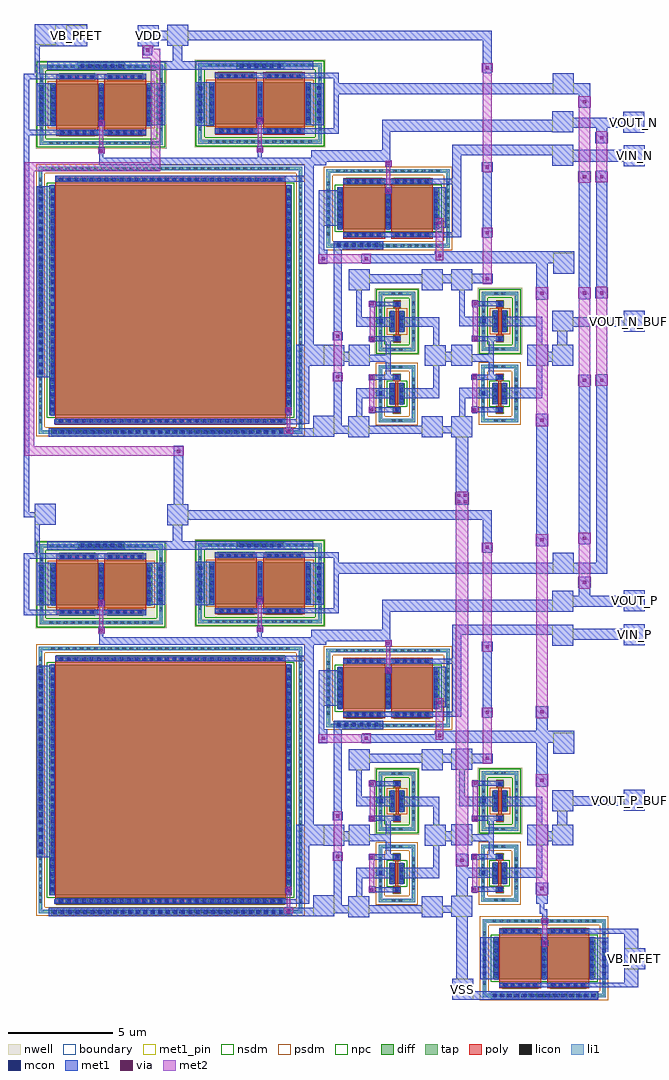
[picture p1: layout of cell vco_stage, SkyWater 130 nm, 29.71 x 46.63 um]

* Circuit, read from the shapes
.subckt vco_stage VB_NFET VB_PFET VDD VIN_N VIN_P VOUT_N VOUT_N_BUF VOUT_P VOUT_P_BUF VSS
XM1 VSS VOUT_P VSS VSS sky130_fd_pr__nfet_01v8 w=11 l=11
XM2 VSS VOUT_N VSS VSS sky130_fd_pr__nfet_01v8 w=11 l=11
XM3 VOUT_P VIN_P vco_stage_half_0/VDRAIN_TAIL VSS sky130_fd_pr__nfet_01v8 w=2 l=2 m=2
XM4 VOUT_N VIN_N vco_stage_half_0/VDRAIN_TAIL VSS sky130_fd_pr__nfet_01v8 w=2 l=2 m=2
XM5 vco_stage_half_1/vco_buffer_0/vco_inverter_1/VIN_INV VOUT_P VSS VSS sky130_fd_pr__nfet_01v8 w=1 l=0.15
XM6 vco_stage_half_0/vco_buffer_0/vco_inverter_1/VIN_INV VOUT_N VSS VSS sky130_fd_pr__nfet_01v8 w=1 l=0.15
XM7 VOUT_P_BUF vco_stage_half_1/vco_buffer_0/vco_inverter_1/VIN_INV VSS VSS sky130_fd_pr__nfet_01v8 w=1 l=0.15
XM8 VOUT_N_BUF vco_stage_half_0/vco_buffer_0/vco_inverter_1/VIN_INV VSS VSS sky130_fd_pr__nfet_01v8 w=1 l=0.15
XM9 vco_stage_half_0/VDRAIN_TAIL VB_NFET VSS VSS sky130_fd_pr__nfet_01v8 w=2 l=2 m=2
XM10 VOUT_P VB_PFET VDD VDD sky130_fd_pr__pfet_01v8 w=2 l=2 m=2
XM11 VOUT_N VB_PFET VDD VDD sky130_fd_pr__pfet_01v8 w=2 l=2 m=2
XM12 VOUT_P VOUT_N VDD VDD sky130_fd_pr__pfet_01v8 w=2 l=2 m=2
XM13 VOUT_N VOUT_P VDD VDD sky130_fd_pr__pfet_01v8 w=2 l=2 m=2
XM14 vco_stage_half_1/vco_buffer_0/vco_inverter_1/VIN_INV VOUT_P VDD VDD sky130_fd_pr__pfet_01v8 w=1 l=0.15
XM15 vco_stage_half_0/vco_buffer_0/vco_inverter_1/VIN_INV VOUT_N VDD VDD sky130_fd_pr__pfet_01v8 w=1 l=0.15
XM16 VOUT_P_BUF vco_stage_half_1/vco_buffer_0/vco_inverter_1/VIN_INV VDD VDD sky130_fd_pr__pfet_01v8 w=1 l=0.15
XM17 VOUT_N_BUF vco_stage_half_0/vco_buffer_0/vco_inverter_1/VIN_INV VDD VDD sky130_fd_pr__pfet_01v8 w=1 l=0.15
.ends

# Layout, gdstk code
import gdstk
lib = gdstk.Library(unit=1e-6, precision=1e-09)
def R(c, l, rs):  # rectangles x0, y0, x1, y1
    for r in rs: c.add(gdstk.rectangle(r[:2], r[2:], *l))
def A(c, l, x, y, w, h, nx, ny, dx, dy):  # array of equal rectangles
    R(c, l, [(x+i*dx, y+j*dy, x+i*dx+w, y+j*dy+h) for i in range(nx) for j in range(ny)])
nwell = (64, 20)
diff = (65, 20)
tap = (65, 44)
poly = (66, 20)
licon = (66, 44)
li1 = (67, 20)
mcon = (67, 44)
met1_pin = (68, 16)
met1 = (68, 20)
via = (68, 44)
met2 = (69, 20)
nsdm = (93, 44)
psdm = (94, 20)
npc = (95, 20)
boundary = (235, 4)

sky130_fd_pr__nfet_01v8_ = lib.new_cell('sky130_fd_pr__nfet_01v8_648S5X')
R(sky130_fd_pr__nfet_01v8_, diff, [(-0.365,-0.5,0.365,0.5)])
R(sky130_fd_pr__nfet_01v8_, tap, [(-0.875,-1.37,0.875,-1.2), (-0.875,-1.2,-0.705,1.2), (0.705,-1.2,0.875,1.2), (-0.875,1.2,0.875,1.37)])
R(sky130_fd_pr__nfet_01v8_, poly, [(-0.165,-0.94,0.165,-0.61), (-0.075,-0.61,0.075,0.61), (-0.165,0.61,0.165,0.94)])
A(sky130_fd_pr__nfet_01v8_, licon, -0.875, -0.765, 0.17, 0.17, 1, 5, 0, 0.34)
A(sky130_fd_pr__nfet_01v8_, licon, 0.705, -0.765, 0.17, 0.17, 1, 5, 0, 0.34)
A(sky130_fd_pr__nfet_01v8_, licon, -0.305, -0.425, 0.17, 0.17, 1, 3, 0, 0.34)
A(sky130_fd_pr__nfet_01v8_, licon, 0.135, -0.425, 0.17, 0.17, 1, 3, 0, 0.34)
R(sky130_fd_pr__nfet_01v8_, licon, [(-0.255,-1.37,-0.085,-1.2), (0.085,-1.37,0.255,-1.2), (-0.085,-0.86,0.085,-0.69), (-0.085,0.69,0.085,0.86), (-0.255,1.2,-0.085,1.37), (0.085,1.2,0.255,1.37)])
R(sky130_fd_pr__nfet_01v8_, li1, [(-0.875,-1.37,0.875,-1.2), (-0.875,-1.2,-0.705,1.2), (0.705,-1.2,0.875,1.2), (-0.165,-0.86,0.165,-0.69), (-0.305,-0.52,-0.135,0.52), (0.135,-0.52,0.305,0.52), (-0.165,0.69,0.165,0.86), (-0.875,1.2,0.875,1.37)])
R(sky130_fd_pr__nfet_01v8_, mcon, [(-0.085,-0.86,0.085,-0.69), (-0.305,-0.265,-0.135,-0.095), (0.135,-0.265,0.305,-0.095), (-0.305,0.095,-0.135,0.265), (0.135,0.095,0.305,0.265), (-0.085,0.69,0.085,0.86)])
R(sky130_fd_pr__nfet_01v8_, met1, [(-0.145,-0.89,0.145,-0.66), (-0.335,-0.5,-0.105,0.5), (0.105,-0.5,0.335,0.5), (-0.145,0.66,0.145,0.89)])
R(sky130_fd_pr__nfet_01v8_, nsdm, [(-0.49,-0.625,0.49,0.625)])
R(sky130_fd_pr__nfet_01v8_, psdm, [(-1,-1.495,1,-1.075), (-1,-1.075,-0.58,1.075), (0.58,-1.075,1,1.075), (-1,1.075,1,1.495)])
R(sky130_fd_pr__nfet_01v8_, npc, [(-0.185,-0.96,0.185,-0.59), (-0.185,0.59,0.185,0.96)])
R(sky130_fd_pr__nfet_01v8_, boundary, [(-0.79,-1.285,0.79,1.285)])

sky130_fd_pr__pfet_01v8_ = lib.new_cell('sky130_fd_pr__pfet_01v8_XGS3BL')
R(sky130_fd_pr__pfet_01v8_, nwell, [(-1.055,-1.595,1.055,1.595)])
R(sky130_fd_pr__pfet_01v8_, diff, [(-0.365,-0.5,0.365,0.5)])
R(sky130_fd_pr__pfet_01v8_, tap, [(-0.875,-1.415,0.875,-1.245), (-0.875,-1.245,-0.705,1.245), (0.705,-1.245,0.875,1.245), (-0.875,1.245,0.875,1.415)])
R(sky130_fd_pr__pfet_01v8_, poly, [(-0.165,-0.985,0.165,-0.655), (-0.075,-0.655,0.075,0.655), (-0.165,0.655,0.165,0.985)])
A(sky130_fd_pr__pfet_01v8_, licon, -0.875, -0.935, 0.17, 0.17, 1, 6, 0, 0.34)
A(sky130_fd_pr__pfet_01v8_, licon, 0.705, -0.935, 0.17, 0.17, 1, 6, 0, 0.34)
A(sky130_fd_pr__pfet_01v8_, licon, -0.305, -0.425, 0.17, 0.17, 1, 3, 0, 0.34)
A(sky130_fd_pr__pfet_01v8_, licon, 0.135, -0.425, 0.17, 0.17, 1, 3, 0, 0.34)
R(sky130_fd_pr__pfet_01v8_, licon, [(-0.255,-1.415,-0.085,-1.245), (0.085,-1.415,0.255,-1.245), (-0.085,-0.905,0.085,-0.735), (-0.085,0.735,0.085,0.905), (-0.255,1.245,-0.085,1.415), (0.085,1.245,0.255,1.415)])
R(sky130_fd_pr__pfet_01v8_, li1, [(-0.875,-1.415,0.875,-1.245), (-0.875,-1.245,-0.705,1.245), (0.705,-1.245,0.875,1.245), (-0.165,-0.905,0.165,-0.735), (-0.305,-0.52,-0.135,0.52), (0.135,-0.52,0.305,0.52), (-0.165,0.735,0.165,0.905), (-0.875,1.245,0.875,1.415)])
R(sky130_fd_pr__pfet_01v8_, mcon, [(-0.085,-0.905,0.085,-0.735), (-0.305,-0.265,-0.135,-0.095), (0.135,-0.265,0.305,-0.095), (-0.305,0.095,-0.135,0.265), (0.135,0.095,0.305,0.265), (-0.085,0.735,0.085,0.905)])
R(sky130_fd_pr__pfet_01v8_, met1, [(-0.145,-0.935,0.145,-0.705), (-0.335,-0.5,-0.105,0.5), (0.105,-0.5,0.335,0.5), (-0.145,0.705,0.145,0.935)])
R(sky130_fd_pr__pfet_01v8_, nsdm, [(-1,-1.54,1,-1.12), (-1,-1.12,-0.58,1.12), (0.58,-1.12,1,1.12), (-1,1.12,1,1.54)])
R(sky130_fd_pr__pfet_01v8_, psdm, [(-0.49,-0.625,0.49,0.625)])
R(sky130_fd_pr__pfet_01v8_, npc, [(-0.185,-1.005,0.185,-0.635), (-0.185,0.635,0.185,1.005)])
R(sky130_fd_pr__pfet_01v8_, boundary, [(-0.79,-1.33,0.79,1.33)])

vco_inverter = lib.new_cell('vco_inverter')
R(vco_inverter, li1, [(1.34,-3.45,1.7,-3.16), (1.37,0.01,1.74,0.25)])
R(vco_inverter, mcon, [(1.435,-3.39,1.605,-3.22), (1.47,0.045,1.64,0.215)])
R(vco_inverter, met1_pin, [(-0.01,-5.42,0.99,-4.42), (3.63,-2.01,4.63,-1.01), (0,-2,1,-1), (0,1.6,1,2.6)])
R(vco_inverter, met1, [(-0.01,-5.42,0.99,-4.42), (0.36,-4.42,0.65,-3.56), (0.98,-4.27,1.24,-4.23), (0.98,-4.23,2.46,-3.99), (0.98,-3.99,1.24,-3.95), (0.36,-3.56,2.16,-3.07), (2.46,-3.56,4.34,-3.07), (4.05,-3.07,4.34,-2.01), (0.95,-2.69,1.27,-2.68), (0.95,-2.68,2.46,-2.43), (1.77,-2.43,2.01,-1.81), (3.63,-2.01,4.63,-1.01), (0,-2,1,-1.81), (0,-1.81,2.02,-1.47), (0,-1.47,1,-1), (1.77,-1.47,2.01,-0.83), (4.05,-1.01,4.33,-0.13), (0.97,-0.84,1.29,-0.83), (0.97,-0.83,2.47,-0.59), (0.97,-0.59,1.29,-0.58), (0.37,-0.13,2.18,-0.05), (2.46,-0.13,4.33,0.32), (0.36,-0.05,2.18,0.32), (0.36,0.32,0.63,1.6), (1,0.795,1.26,0.84), (1,0.84,2.47,1.07), (1,1.07,1.26,1.115), (0,1.6,1,2.6)])
R(vco_inverter, via, [(1.035,-4.185,1.185,-4.035), (1.035,-2.635,1.185,-2.485), (1.055,-0.785,1.205,-0.635), (1.055,0.88,1.205,1.03)])
R(vco_inverter, met2, [(0.95,-4.24,1.27,-3.98), (0.99,-3.98,1.23,-2.72), (0.98,-2.72,1.24,-2.4), (1,-0.87,1.26,-0.55), (1.015,-0.55,1.245,0.825), (0.97,0.825,1.29,1.085)])
vco_inverter.add(gdstk.Reference(sky130_fd_pr__nfet_01v8_, (2.305,-3.34)))
vco_inverter.add(gdstk.Reference(sky130_fd_pr__pfet_01v8_, (2.315,0.115)))
vco_inverter.add(gdstk.Label('VOUT_INV', (4.13,-1.51), layer=68, texttype=5))
vco_inverter.add(gdstk.Label('VSS', (0.49,-4.92), layer=68, texttype=5))
vco_inverter.add(gdstk.Label('VIN_INV', (0.5,-1.5), layer=68, texttype=5))
vco_inverter.add(gdstk.Label('VDD', (0.5,2.1), layer=68, texttype=5))

vco_buffer = lib.new_cell('vco_buffer')
R(vco_buffer, met1_pin, [(6.13,-4.94,7.13,-3.94), (1.44,-1.53,2.44,-0.53), (12.38,-1.52,13.38,-0.52), (6.13,2.08,7.13,3.08)])
R(vco_buffer, met1, [(6.13,-4.94,7.13,-4.74), (3.01,-4.74,8.21,-4.4), (6.13,-4.4,7.13,-3.94), (1.44,-1.53,2.44,-1.33), (12.38,-1.52,13.38,-1.33), (1.44,-1.33,3.28,-0.84), (6.67,-1.33,8.27,-0.84), (11.61,-1.33,13.38,-0.84), (1.44,-0.84,2.44,-0.53), (12.38,-0.84,13.38,-0.52), (6.13,2.08,7.13,2.42), (3.01,2.42,8.19,2.86), (6.13,2.86,7.13,3.08)])
vco_buffer.add(gdstk.Reference(vco_inverter, (2.64,0.48)))
vco_buffer.add(gdstk.Reference(vco_inverter, (7.555,0.49)))
vco_buffer.add(gdstk.Label('VOUT_BUF', (12.88,-1.02), layer=68, texttype=5))
vco_buffer.add(gdstk.Label('VIN_BUF', (1.94,-1.03), layer=68, texttype=5))
vco_buffer.add(gdstk.Label('VSS', (6.63,-4.44), layer=68, texttype=5))
vco_buffer.add(gdstk.Label('VDD', (6.63,2.58), layer=68, texttype=5))

c_sky130_fd_pr__nfet_01v8_ = lib.new_cell('sky130_fd_pr__nfet_01v8_XVWV9B')
R(c_sky130_fd_pr__nfet_01v8_, diff, [(-2.435,-1,2.435,1)])
R(c_sky130_fd_pr__nfet_01v8_, tap, [(-2.945,-1.87,2.945,-1.7), (-2.945,-1.7,-2.775,1.7), (2.775,-1.7,2.945,1.7), (-2.945,1.7,2.945,1.87)])
R(c_sky130_fd_pr__nfet_01v8_, poly, [(-2.145,-1.44,-0.145,1.44), (0.145,-1.44,2.145,1.44)])
A(c_sky130_fd_pr__nfet_01v8_, licon, -2.465, -1.87, 0.17, 0.17, 15, 2, 0.34, 3.57)
A(c_sky130_fd_pr__nfet_01v8_, licon, -1.91, -1.36, 0.17, 0.17, 5, 2, 0.34, 2.55)
A(c_sky130_fd_pr__nfet_01v8_, licon, 0.38, -1.36, 0.17, 0.17, 5, 2, 0.34, 2.55)
A(c_sky130_fd_pr__nfet_01v8_, licon, -2.945, -1.275, 0.17, 0.17, 1, 8, 0, 0.34)
A(c_sky130_fd_pr__nfet_01v8_, licon, 2.775, -1.275, 0.17, 0.17, 1, 8, 0, 0.34)
A(c_sky130_fd_pr__nfet_01v8_, licon, -2.375, -0.935, 0.17, 0.17, 3, 6, 2.29, 0.34)
A(c_sky130_fd_pr__nfet_01v8_, li1, -2.375, -1.02, 0.17, 2.04, 3, 1, 2.29, 0)
R(c_sky130_fd_pr__nfet_01v8_, li1, [(-2.945,-1.87,2.945,-1.7), (-2.945,-1.7,-2.775,1.7), (2.775,-1.7,2.945,1.7), (-2.145,-1.36,-0.145,-1.19), (0.145,-1.36,2.145,-1.19), (-2.145,1.19,-0.145,1.36), (0.145,1.19,2.145,1.36), (-2.945,1.7,2.945,1.87)])
A(c_sky130_fd_pr__nfet_01v8_, mcon, -1.95, -1.36, 0.17, 0.17, 5, 2, 0.36, 2.55)
A(c_sky130_fd_pr__nfet_01v8_, mcon, 0.34, -1.36, 0.17, 0.17, 5, 2, 0.36, 2.55)
A(c_sky130_fd_pr__nfet_01v8_, mcon, -2.375, -0.805, 0.17, 0.17, 3, 5, 2.29, 0.36)
A(c_sky130_fd_pr__nfet_01v8_, met1, -2.405, -1, 0.23, 2, 3, 1, 2.29, 0)
R(c_sky130_fd_pr__nfet_01v8_, met1, [(-2.125,-1.39,-0.165,-1.16), (0.165,-1.39,2.125,-1.16), (-2.125,1.16,-0.165,1.39), (0.165,1.16,2.125,1.39)])
R(c_sky130_fd_pr__nfet_01v8_, nsdm, [(-2.56,-1.125,2.56,1.125)])
R(c_sky130_fd_pr__nfet_01v8_, psdm, [(-3.07,-1.995,3.07,-1.575), (-3.07,-1.575,-2.65,1.575), (2.65,-1.575,3.07,1.575), (-3.07,1.575,3.07,1.995)])
R(c_sky130_fd_pr__nfet_01v8_, npc, [(-2.01,-1.46,-0.28,-1.09), (0.28,-1.46,2.01,-1.09), (-2.01,1.09,-0.28,1.46), (0.28,1.09,2.01,1.46)])
R(c_sky130_fd_pr__nfet_01v8_, boundary, [(-2.86,-1.785,2.86,1.785)])

c_sky130_fd_pr__pfet_01v8_ = lib.new_cell('sky130_fd_pr__pfet_01v8_GJP7VV')
R(c_sky130_fd_pr__pfet_01v8_, nwell, [(-3.125,-2.095,3.125,2.095)])
R(c_sky130_fd_pr__pfet_01v8_, diff, [(-2.435,-1,2.435,1)])
R(c_sky130_fd_pr__pfet_01v8_, tap, [(-2.945,-1.915,2.945,-1.745), (-2.945,-1.745,-2.775,1.745), (2.775,-1.745,2.945,1.745), (-2.945,1.745,2.945,1.915)])
R(c_sky130_fd_pr__pfet_01v8_, poly, [(-2.145,-1.485,-0.145,1.485), (0.145,-1.485,2.145,1.485)])
A(c_sky130_fd_pr__pfet_01v8_, licon, -2.465, -1.915, 0.17, 0.17, 15, 2, 0.34, 3.66)
A(c_sky130_fd_pr__pfet_01v8_, licon, -1.91, -1.405, 0.17, 0.17, 5, 2, 0.34, 2.64)
A(c_sky130_fd_pr__pfet_01v8_, licon, 0.38, -1.405, 0.17, 0.17, 5, 2, 0.34, 2.64)
A(c_sky130_fd_pr__pfet_01v8_, licon, -2.945, -1.275, 0.17, 0.17, 1, 8, 0, 0.34)
A(c_sky130_fd_pr__pfet_01v8_, licon, 2.775, -1.275, 0.17, 0.17, 1, 8, 0, 0.34)
A(c_sky130_fd_pr__pfet_01v8_, licon, -2.375, -0.935, 0.17, 0.17, 3, 6, 2.29, 0.34)
A(c_sky130_fd_pr__pfet_01v8_, li1, -2.375, -1.02, 0.17, 2.04, 3, 1, 2.29, 0)
R(c_sky130_fd_pr__pfet_01v8_, li1, [(-2.945,-1.915,2.945,-1.745), (-2.945,-1.745,-2.775,1.745), (2.775,-1.745,2.945,1.745), (-2.145,-1.405,-0.145,-1.235), (0.145,-1.405,2.145,-1.235), (-2.145,1.235,-0.145,1.405), (0.145,1.235,2.145,1.405), (-2.945,1.745,2.945,1.915)])
A(c_sky130_fd_pr__pfet_01v8_, mcon, -1.95, -1.405, 0.17, 0.17, 5, 2, 0.36, 2.64)
A(c_sky130_fd_pr__pfet_01v8_, mcon, 0.34, -1.405, 0.17, 0.17, 5, 2, 0.36, 2.64)
A(c_sky130_fd_pr__pfet_01v8_, mcon, -2.375, -0.805, 0.17, 0.17, 3, 5, 2.29, 0.36)
A(c_sky130_fd_pr__pfet_01v8_, met1, -2.405, -1, 0.23, 2, 3, 1, 2.29, 0)
R(c_sky130_fd_pr__pfet_01v8_, met1, [(-2.125,-1.435,-0.165,-1.205), (0.165,-1.435,2.125,-1.205), (-2.125,1.205,-0.165,1.435), (0.165,1.205,2.125,1.435)])
R(c_sky130_fd_pr__pfet_01v8_, nsdm, [(-3.07,-2.04,3.07,-1.62), (-3.07,-1.62,-2.65,1.62), (2.65,-1.62,3.07,1.62), (-3.07,1.62,3.07,2.04)])
R(c_sky130_fd_pr__pfet_01v8_, psdm, [(-2.56,-1.125,2.56,1.125)])
R(c_sky130_fd_pr__pfet_01v8_, npc, [(-2.01,-1.505,-0.28,-1.135), (0.28,-1.505,2.01,-1.135), (-2.01,1.135,-0.28,1.505), (0.28,1.135,2.01,1.505)])
R(c_sky130_fd_pr__pfet_01v8_, boundary, [(-2.86,-1.83,2.86,1.83)])

c_sky130_fd_pr__nfet_01v8__ = lib.new_cell('sky130_fd_pr__nfet_01v8_APRB2X')
R(c_sky130_fd_pr__nfet_01v8__, diff, [(-5.79,-5.5,5.79,5.5)])
R(c_sky130_fd_pr__nfet_01v8__, tap, [(-6.3,-6.37,6.3,-6.2), (-6.3,-6.2,-6.13,6.2), (6.13,-6.2,6.3,6.2), (-6.3,6.2,6.3,6.37)])
R(c_sky130_fd_pr__nfet_01v8__, poly, [(-5.5,-5.94,5.5,5.94)])
A(c_sky130_fd_pr__nfet_01v8__, licon, -5.695, -6.37, 0.17, 0.17, 34, 2, 0.34, 12.57)
A(c_sky130_fd_pr__nfet_01v8__, licon, -6.3, -5.865, 0.17, 0.17, 1, 35, 0, 0.34)
A(c_sky130_fd_pr__nfet_01v8__, licon, 6.13, -5.865, 0.17, 0.17, 1, 35, 0, 0.34)
A(c_sky130_fd_pr__nfet_01v8__, licon, -5.355, -5.86, 0.17, 0.17, 32, 2, 0.34, 11.55)
A(c_sky130_fd_pr__nfet_01v8__, licon, -5.73, -5.355, 0.17, 0.17, 1, 32, 0, 0.34)
A(c_sky130_fd_pr__nfet_01v8__, licon, 5.56, -5.355, 0.17, 0.17, 1, 32, 0, 0.34)
R(c_sky130_fd_pr__nfet_01v8__, li1, [(-6.3,-6.37,6.3,-6.2), (-6.3,-6.2,-6.13,6.2), (6.13,-6.2,6.3,6.2), (-5.5,-5.86,5.5,-5.69), (-5.73,-5.52,-5.56,5.52), (5.56,-5.52,5.73,5.52), (-5.5,5.69,5.5,5.86), (-6.3,6.2,6.3,6.37)])
A(c_sky130_fd_pr__nfet_01v8__, mcon, -5.305, -5.86, 0.17, 0.17, 30, 2, 0.36, 11.55)
A(c_sky130_fd_pr__nfet_01v8__, mcon, -5.73, -5.305, 0.17, 0.17, 1, 30, 0, 0.36)
A(c_sky130_fd_pr__nfet_01v8__, mcon, 5.56, -5.305, 0.17, 0.17, 1, 30, 0, 0.36)
R(c_sky130_fd_pr__nfet_01v8__, met1, [(-5.48,-5.89,5.48,-5.66), (-5.76,-5.5,-5.53,5.5), (5.53,-5.5,5.76,5.5), (-5.48,5.66,5.48,5.89)])
R(c_sky130_fd_pr__nfet_01v8__, nsdm, [(-5.915,-5.625,5.915,5.625)])
R(c_sky130_fd_pr__nfet_01v8__, psdm, [(-6.425,-6.495,6.425,-6.075), (-6.425,-6.075,-6.005,6.075), (6.005,-6.075,6.425,6.075), (-6.425,6.075,6.425,6.495)])
R(c_sky130_fd_pr__nfet_01v8__, npc, [(-5.455,-5.96,5.455,-5.59), (-5.455,5.59,5.455,5.96)])
R(c_sky130_fd_pr__nfet_01v8__, boundary, [(-6.21,-6.28,6.21,6.28)])

vco_stage_half = lib.new_cell('vco_stage_half')
R(vco_stage_half, li1, [(6.4,-19.57,17.94,-19.3), (5.79,-16.76,6.05,-7.74), (20,-10.63,22.14,-10.35), (5.83,-4.73,6.08,-2.83), (11.52,-4.73,11.78,-2.83), (13.4,-4.66,13.7,-2.78), (19.1,-4.65,19.33,-2.78), (7.66,-2.08,9.96,-1.79), (15.27,-2.08,17.55,-1.77)])
A(vco_stage_half, mcon, 6.505, -19.52, 0.17, 0.17, 32, 1, 0.36, 0)
A(vco_stage_half, mcon, 5.835, -16.655, 0.17, 0.17, 1, 25, 0, 0.36)
A(vco_stage_half, mcon, 20.085, -10.575, 0.17, 0.17, 6, 1, 0.36, 0)
A(vco_stage_half, mcon, 5.87, -4.585, 0.17, 0.17, 1, 5, 0, 0.36)
A(vco_stage_half, mcon, 11.565, -4.585, 0.17, 0.17, 1, 5, 0, 0.36)
A(vco_stage_half, mcon, 13.465, -4.525, 0.17, 0.17, 1, 5, 0, 0.36)
A(vco_stage_half, mcon, 19.13, -4.52, 0.17, 0.17, 1, 5, 0, 0.36)
A(vco_stage_half, mcon, 7.825, -2.02, 0.17, 0.17, 6, 1, 0.36, 0)
A(vco_stage_half, mcon, 15.425, -2.01, 0.17, 0.17, 6, 1, 0.36, 0)
R(vco_stage_half, met1_pin, [(18.94,-19.64,19.94,-18.64), (30.37,-14.62,31.37,-13.62), (30.41,-11.87,31.41,-10.87), (30.37,-6.71,31.37,-5.71), (30.37,-5.1,31.37,-4.1), (30.38,-3.28,31.38,-2.28), (11.96,-0.96,12.96,0.04), (5.64,-0.93,6.64,0.07)])
R(vco_stage_half, met1, [(6.29,-19.65,19.48,-19.64), (6.29,-19.64,19.94,-19.5), (6.29,-19.5,24.75,-19.24), (17.555,-19.24,17.965,-19.21), (18.94,-19.24,24.75,-19.12), (18.94,-19.12,20.31,-18.64), (6.57,-19.05,18.5,-19.04), (6.57,-19.04,18.75,-18.82), (18.13,-18.82,18.75,-16.25), (19.91,-18.64,20.31,-16.56), (17.6,-18.53,17.92,-18.27), (17.67,-18.27,17.85,-17.09), (5.72,-16.82,6.54,-7.68), (18.13,-16.25,19.99,-15.26), (30.59,-15.94,31.07,-14.62), (18.5,-15.26,18.97,-7.47), (19.88,-15.05,20.34,-14.65), (19.91,-14.65,20.31,-10.7), (30.37,-14.62,31.37,-13.62), (25.755,-12.325,27.51,-11.875), (30.41,-11.87,31.41,-11.35), (19.205,-11.38,19.615,-11.18), (21.245,-11.35,31.41,-10.94), (19.2,-11.18,19.615,-10.715), (24.74,-10.94,31.41,-10.79), (19.2,-10.715,19.46,-9.58), (19.91,-10.7,22.29,-10.3), (27.03,-10.155,27.48,-6.985), (20.37,-10.12,26,-9.88), (25.57,-9.88,26,-7.58), (22.44,-9.685,22.635,-8.005), (24.72,-9.66,25.26,-7.72), (19.2,-9.58,20.31,-7.88), (22.375,-8.005,22.695,-7.745), (20.37,-7.58,26,-7.33), (6.62,-7.47,18.97,-7.19), (25.57,-7.33,26,-6.19), (18.5,-7.19,18.97,-6.68), (27,-6.985,27.51,-6.535), (22.4,-6.755,22.66,-6.505), (30.37,-6.71,31.37,-6.19), (8.71,-6.68,19.57,-6.505), (8.71,-6.505,22.66,-6.435), (8.71,-6.435,22.63,-6.31), (8.72,-6.31,8.91,-6.14), (16.29,-6.31,16.49,-6.09), (18.85,-6.31,22.63,-5.96), (25.57,-6.19,31.37,-5.71), (8.685,-6.14,8.945,-5.82), (16.26,-6.09,16.52,-5.77), (22.23,-5.96,22.63,-5.09), (5.1,-5.25,10.97,-4.99), (14.24,-5.17,20.165,-4.92), (30.37,-5.1,31.37,-5.09), (22.23,-5.09,31.37,-4.51), (5.1,-4.99,5.36,-2.56), (19.915,-4.92,20.165,-3.28), (8.655,-4.82,8.975,-4.56), (5.73,-4.78,6.61,-2.76), (13.32,-4.78,14.22,-2.71), (11,-4.76,11.81,-4.75), (18.58,-4.76,19.44,-2.75), (11,-4.75,11.87,-2.76), (16.29,-4.75,16.49,-4.67), (16.23,-4.67,16.55,-4.41), (8.71,-4.56,8.91,-4.315), (30.37,-4.51,31.37,-4.1), (16.29,-4.41,16.49,-2.69), (8.71,-4.315,8.89,-2.75), (19.91,-3.28,31.38,-2.75), (5.73,-2.76,6.09,-2.75), (11,-2.76,11.81,-2.75), (19.915,-2.75,20.165,-2.52), (30.38,-2.75,31.38,-2.28), (5.1,-2.56,10.95,-2.31), (14.24,-2.52,20.165,-2.26), (5.1,-2.31,5.88,-2.3), (5.63,-2.3,5.88,-0.93), (27.03,-2.275,27.48,-0.7), (6.22,-2.12,18.94,-1.72), (12.22,-1.72,12.67,-0.96), (11.96,-0.96,12.96,-0.7), (5.63,-0.93,6.64,-0.325), (11.96,-0.7,27.48,-0.25), (5.64,-0.325,6.64,0.07), (11.96,-0.25,12.96,0.04)])
R(vco_stage_half, via, [(17.685,-19.445,17.835,-19.295), (17.685,-18.475,17.835,-18.325), (20.035,-16.865,20.185,-16.715), (20.035,-14.925,20.185,-14.775), (27.18,-12.175,27.33,-12.025), (19.335,-11.22,19.485,-11.07), (21.405,-11.22,21.555,-11.07), (24.905,-11.085,25.055,-10.935), (27.18,-9.975,27.33,-9.825), (24.905,-9.505,25.055,-9.355), (22.46,-7.95,22.61,-7.8), (27.18,-6.835,27.33,-6.685), (22.455,-6.67,22.605,-6.52), (8.74,-6.055,8.89,-5.905), (16.315,-6.005,16.465,-5.855), (8.74,-4.765,8.89,-4.615), (16.315,-4.615,16.465,-4.465), (27.18,-2.095,27.33,-1.945)])
R(vco_stage_half, met2, [(17.525,-19.5,17.995,-19.24), (17.67,-19.24,17.85,-18.56), (17.63,-18.56,17.89,-18.24), (19.88,-16.99,20.34,-16.59), (19.91,-16.59,20.31,-14.62), (27.03,-12.355,27.48,-10.125), (21.275,-11.38,21.685,-11.35), (19.175,-11.35,21.685,-10.94), (24.8,-11.22,25.16,-9.22), (21.275,-10.94,21.685,-10.91), (27,-10.125,27.51,-9.675), (22.405,-8.035,22.665,-7.715), (22.435,-7.715,22.63,-6.725), (27.03,-7.015,27.48,-2.245), (22.37,-6.725,22.69,-6.465), (8.655,-6.11,8.975,-5.85), (16.23,-6.06,16.55,-5.8), (8.72,-5.85,8.91,-4.85), (16.29,-5.8,16.49,-4.7), (8.685,-4.85,8.945,-4.53), (16.26,-4.7,16.52,-4.38), (27,-2.245,27.51,-1.795)])
vco_stage_half.add(gdstk.Reference(vco_buffer, (17.99,-14.74)))
vco_stage_half.add(gdstk.Reference(c_sky130_fd_pr__nfet_01v8_, (22.515,-8.74)))
vco_stage_half.add(gdstk.Reference(c_sky130_fd_pr__pfet_01v8_, (8.805,-3.785)))
vco_stage_half.add(gdstk.Reference(c_sky130_fd_pr__pfet_01v8_, (16.395,-3.725)))
vco_stage_half.add(gdstk.Reference(c_sky130_fd_pr__nfet_01v8__, (12.12,-13.13)))
vco_stage_half.add(gdstk.Label('VDRAIN_TAIL', (30.91,-11.37), layer=68, texttype=5))
vco_stage_half.add(gdstk.Label('VFB', (30.88,-2.78), layer=68, texttype=5))
vco_stage_half.add(gdstk.Label('VB_PFET', (6.14,-0.43), layer=68, texttype=5))
vco_stage_half.add(gdstk.Label('VIN_DIFF', (30.87,-6.21), layer=68, texttype=5))
vco_stage_half.add(gdstk.Label('VOUT_DIFF_BUF', (30.87,-14.12), layer=68, texttype=5))
vco_stage_half.add(gdstk.Label('VOUT_DIFF', (30.87,-4.6), layer=68, texttype=5))
vco_stage_half.add(gdstk.Label('VSS', (19.44,-19.14), layer=68, texttype=5))
vco_stage_half.add(gdstk.Label('VDD', (12.46,-0.46), layer=68, texttype=5))

vco_stage = lib.new_cell('vco_stage')
R(vco_stage, li1, [(26.21,-36.35,31.28,-36.04), (31.53,-35.32,31.72,-33.5), (25.81,-35.31,25.98,-33.52)])
A(vco_stage, mcon, 26.32, -36.28, 0.17, 0.17, 14, 1, 0.36, 0)
A(vco_stage, mcon, 25.81, -35.22, 0.17, 0.17, 1, 5, 0, 0.36)
A(vco_stage, mcon, 31.54, -35.215, 0.17, 0.17, 1, 5, 0, 0.36)
R(vco_stage, met1_pin, [(24.36,-36.4,25.36,-35.4), (32.59,-34.94,33.59,-33.94), (32.55,-27.36,33.55,-26.36), (32.55,-19.46,33.55,-18.46), (32.55,-17.83,33.55,-16.83), (32.55,-4.47,33.55,-3.47), (32.56,3.44,33.56,4.44), (32.54,5.04,33.54,6.04), (5.91,9.17,6.91,10.17), (9.33,9.17,10.33,10.17)])
R(vco_stage, met1, [(24.36,-36.4,31.34,-35.98), (24.36,-35.98,25.36,-35.4), (26.61,-35.8,33.25,-35.59), (32.59,-35.59,33.25,-34.94), (25.69,-35.41,26.54,-33.41), (30.97,-35.41,31.82,-33.42), (24.55,-35.4,25.11,-29.41), (28.67,-35.39,28.89,-33.82), (32.59,-34.94,33.59,-33.94), (32.59,-33.94,33.25,-33.24), (28.62,-33.82,28.94,-33.56), (26.61,-33.24,33.25,-32.99), (28.65,-32.8,28.91,-32.48), (28.67,-32.48,28.89,-32.28), (28.54,-32.28,28.89,-32.06), (28.54,-32.06,28.76,-31.81), (28.37,-31.81,28.93,-31.36), (28.34,-31.36,28.96,-30.8), (32.55,-27.36,33.55,-27.12), (29.17,-27.12,33.55,-26.67), (32.55,-26.67,33.55,-26.36), (28.37,-26.21,28.93,-22.92), (28.34,-22.92,28.96,-22.36), (32.55,-19.46,33.55,-19.2), (29.17,-19.2,33.55,-18.67), (32.55,-18.67,33.55,-18.46), (32.55,-17.83,33.55,-17.61), (29.19,-17.61,33.55,-17.09), (30.415,-17.09,30.945,-16.715), (32.55,-17.09,33.55,-16.83), (30.385,-16.715,30.975,-16.185), (27.845,-16.04,31.765,-15.51), (31.235,-15.51,31.765,-6.505), (28.37,-14.73,28.93,-8.39), (30.415,-14.635,30.945,-7.065), (11.055,-13.645,11.505,-13.445), (4.76,-13.46,5.42,-13.35), (10.74,-13.445,11.505,-12.995), (3.88,-13.35,5.42,-13.09), (3.88,-13.09,4.14,5.56), (4.76,-13.09,5.42,-12.98), (11.055,-12.995,11.505,-9.925), (24.5,-12.74,25.16,-12.14), (24.53,-12.14,25.13,-8.75), (30.385,-7.065,30.975,-6.535), (32.55,-4.47,33.55,-4.23), (29.17,-4.23,33.55,-3.78), (32.55,-3.78,33.55,-3.47), (28.37,-2.95,28.93,-1.19), (30.415,-2.915,30.945,2.665), (31.205,-2.885,31.795,-2.355), (31.235,-2.355,31.765,3.225), (29.27,-1.42,30.19,-1.19), (28.37,-1.19,30.19,-0.93), (28.37,-0.93,29.29,-0.63), (30.385,2.665,30.975,3.195), (32.56,3.44,33.56,3.64), (29.34,3.64,33.56,4.23), (32.56,4.23,33.56,4.44), (31.205,4.535,31.795,5.065), (32.54,5.04,33.54,5.28), (31.235,5.065,31.765,5.28), (29.31,5.28,33.54,5.75), (32.54,5.75,33.54,6.04), (30.415,6.225,30.945,6.88), (28.655,6.88,30.945,7.41), (9.585,8.735,10.035,9.17), (4.41,9.17,6.91,10.23), (9.33,9.17,10.33,9.46), (9.33,9.46,12.145,9.91), (9.33,9.91,10.33,10.17)])
R(vco_stage, via, [(28.705,-33.765,28.855,-33.615), (28.705,-32.715,28.855,-32.565), (28.575,-31.155,28.725,-31.005), (24.755,-29.795,24.905,-29.645), (28.575,-25.975,28.725,-25.825), (28.575,-22.715,28.725,-22.565), (30.605,-16.525,30.755,-16.375), (28.575,-14.495,28.725,-14.345), (30.605,-14.415,30.755,-14.265), (24.595,-12.675,24.745,-12.525), (24.915,-12.675,25.065,-12.525), (24.595,-12.355,24.745,-12.205), (24.915,-12.355,25.065,-12.205), (11.205,-10.255,11.355,-10.105), (28.575,-8.775,28.725,-8.625), (30.605,-6.875,30.755,-6.725), (31.425,-6.875,31.575,-6.725), (28.575,-2.715,28.725,-2.565), (30.605,-2.695,30.755,-2.545), (31.425,-2.695,31.575,-2.545), (30.605,2.855,30.755,3.005), (31.425,2.855,31.575,3.005), (31.425,4.725,31.575,4.875), (30.605,6.445,30.755,6.595), (9.735,8.915,9.885,9.065)])
R(vco_stage, met2, [(28.65,-33.85,28.91,-33.53), (28.67,-33.53,28.89,-32.77), (28.62,-32.77,28.94,-32.51), (28.37,-31.39,28.93,-26.18), (24.54,-30.01,25.12,-30), (24.52,-30,25.14,-29.44), (24.54,-29.44,25.12,-18.55), (28.34,-26.18,28.96,-25.62), (28.37,-22.95,28.93,-14.7), (24.53,-18.55,25.13,-12.11), (30.415,-16.745,30.945,-14.605), (28.34,-14.7,28.96,-14.14), (30.385,-14.605,30.975,-14.075), (3.935,-10.405,11.535,-9.955), (3.935,-9.955,4.385,3.185), (28.34,-8.98,28.96,-8.42), (28.37,-8.42,28.93,-2.92), (30.415,-7.095,30.945,-2.885), (31.205,-7.065,31.795,-6.535), (31.235,-6.535,31.765,-2.325), (28.34,-2.92,28.96,-2.36), (30.385,-2.885,30.975,-2.355), (30.415,2.635,30.945,6.255), (31.205,2.665,31.795,3.195), (3.935,3.185,10.405,3.635), (31.235,3.195,31.765,5.095), (9.955,3.635,10.405,8.595), (30.385,6.255,30.975,6.785), (9.555,8.595,10.405,9.045), (9.555,9.045,10.065,9.215)])
vco_stage.add(gdstk.Reference(vco_stage_half, (-1.22,10.16)))
vco_stage.add(gdstk.Reference(vco_stage_half, (-1.22,-12.76)))
vco_stage.add(gdstk.Reference(c_sky130_fd_pr__nfet_01v8_, (28.755,-34.41)))
vco_stage.add(gdstk.Label('VOUT_N_BUF', (33.05,-3.97), layer=68, texttype=5))
vco_stage.add(gdstk.Label('VOUT_P_BUF', (33.05,-26.86), layer=68, texttype=5))
vco_stage.add(gdstk.Label('VOUT_N', (33.04,5.54), layer=68, texttype=5))
vco_stage.add(gdstk.Label('VOUT_P', (33.05,-17.33), layer=68, texttype=5))
vco_stage.add(gdstk.Label('VB_NFET', (33.09,-34.44), layer=68, texttype=5))
vco_stage.add(gdstk.Label('VB_PFET', (6.41,9.67), layer=68, texttype=5))
vco_stage.add(gdstk.Label('VIN_N', (33.06,3.94), layer=68, texttype=5))
vco_stage.add(gdstk.Label('VSS', (24.86,-35.9), layer=68, texttype=5))
vco_stage.add(gdstk.Label('VIN_P', (33.05,-18.96), layer=68, texttype=5))
vco_stage.add(gdstk.Label('VDD', (9.83,9.67), layer=68, texttype=5))

lib.write_gds('vco_stage.gds')
